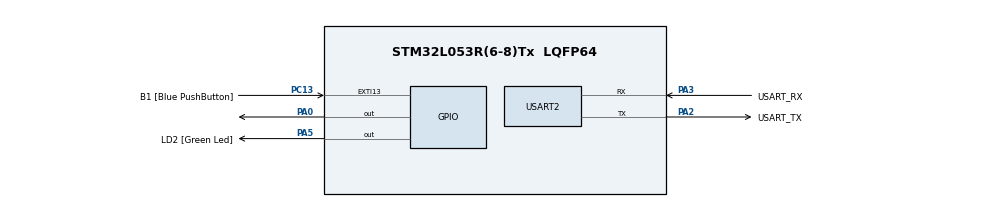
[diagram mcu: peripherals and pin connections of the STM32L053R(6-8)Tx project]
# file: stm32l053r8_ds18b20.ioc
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Mcu.Family=STM32L0
Mcu.Name=STM32L053R(6-8)Tx
Mcu.Package=LQFP64
PA0.Signal=GPIO_Output
PA13.GPIO_Label=TMS
PA13.Mode=Serial_Wire
PA13.Signal=SYS_SWDIO
PA14.GPIO_Label=TCK
PA14.Mode=Serial_Wire
PA14.Signal=SYS_SWCLK
PA2.GPIO_Label=USART_TX
PA2.Mode=Asynchronous
PA2.Signal=USART2_TX
PA3.GPIO_Label=USART_RX
PA3.Mode=Asynchronous
PA3.Signal=USART2_RX
PA5.GPIO_Label=LD2 [Green Led]
PA5.Signal=GPIO_Output
PC13.GPIO_Label=B1 [Blue PushButton]
PC13.GPIO_ModeDefaultEXTI=GPIO_MODE_IT_FALLING
PC13.Signal=GPXTI13
PC14-OSC32_IN.Mode=LSE-External-Oscillator
PC14-OSC32_IN.Signal=RCC_OSC32_IN
PC15-OSC32_OUT.Mode=LSE-External-Oscillator
PC15-OSC32_OUT.Signal=RCC_OSC32_OUT
PH0-OSC_IN.Mode=HSE-External-Clock-Source
PH0-OSC_IN.Signal=RCC_OSC_IN
PH1-OSC_OUT.Signal=RCC_OSC_OUT
ProjectManager.HeapSize=0x200
ProjectManager.StackSize=0x400
ProjectManager.TargetToolchain=STM32CubeIDE
RCC.AHBFreq_Value=2097000
RCC.APB1Freq_Value=2097000
RCC.APB1TimFreq_Value=2097000
RCC.APB2Freq_Value=2097000
RCC.APB2TimFreq_Value=2097000
RCC.HSE_VALUE=8000000
RCC.HSI16_VALUE=16000000
RCC.HSI48_VALUE=48000000
RCC.HSI_VALUE=16000000
RCC.MSI_VALUE=2097000
RCC.SYSCLKFreq_VALUE=2097000
RCC.VCOOutputFreq_Value=48000000
USART2.VirtualMode-Asynchronous=VM_ASYNC
VP_TIM2_VS_ClockSourceINT.Mode=Internal
board=NUCLEO-L053R8

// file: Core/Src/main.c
/* USER CODE BEGIN Header */
/**
  ******************************************************************************
  * @file           : main.c
  * @brief          : Main program body
  ******************************************************************************
  * @attention
  *
  * Copyright (c) 2025 STMicroelectronics.
  * All rights reserved.
  *
  * This software is licensed under terms that can be found in the LICENSE file
  * in the root directory of this software component.
  * If no LICENSE file comes with this software, it is provided AS-IS.
  *
  ******************************************************************************
  */
/* USER CODE END Header */
#include "main.h"

/* USER CODE BEGIN Includes */
#include <stdio.h>
#include <stdint.h>

UART_HandleTypeDef huart2;
TIM_HandleTypeDef htim2;  // Use TIM2 for microsecond delay

// ---------------- UART printf ----------------
int __io_putchar(int ch) {
  HAL_UART_Transmit(&huart2, (uint8_t *)&ch, 1, HAL_MAX_DELAY);
  return ch;
}

// ---------------- DS18B20 defines ----------------
#define DS18B20_PORT GPIOA
#define DS18B20_PIN  GPIO_PIN_0

// delay in microseconds
void delay_us(uint16_t us) {
  __HAL_TIM_SET_COUNTER(&htim2, 0);
  while (__HAL_TIM_GET_COUNTER(&htim2) < us);
}

// ---------- Low-level 1-Wire Functions ----------
uint8_t DS18B20_Start(void);
void DS18B20_Write(uint8_t data);
uint8_t DS18B20_Read(void);
float DS18B20_GetTemp(void);

// ---------- DS18B20 low-level functions ----------
uint8_t DS18B20_Start(void) {
  uint8_t response = 0;
  GPIO_InitTypeDef GPIO_InitStruct = {0};

  // Set as output
  GPIO_InitStruct.Pin = DS18B20_PIN;
  GPIO_InitStruct.Mode = GPIO_MODE_OUTPUT_PP;
  GPIO_InitStruct.Speed = GPIO_SPEED_FREQ_LOW;
  HAL_GPIO_Init(DS18B20_PORT, &GPIO_InitStruct);

  HAL_GPIO_WritePin(DS18B20_PORT, DS18B20_PIN, GPIO_PIN_RESET);
  delay_us(480); // reset pulse
  HAL_GPIO_WritePin(DS18B20_PORT, DS18B20_PIN, GPIO_PIN_SET);
  delay_us(80);

  // Set as input to read presence
  GPIO_InitStruct.Mode = GPIO_MODE_INPUT;
  HAL_GPIO_Init(DS18B20_PORT, &GPIO_InitStruct);

  if (!HAL_GPIO_ReadPin(DS18B20_PORT, DS18B20_PIN))
    response = 1; // presence pulse
  else
    response = 0;

  delay_us(400);
  return response;
}

void DS18B20_Write(uint8_t data) {
  GPIO_InitTypeDef GPIO_InitStruct = {0};
  for (int i = 0; i < 8; i++) {
    // Output mode
    GPIO_InitStruct.Pin = DS18B20_PIN;
    GPIO_InitStruct.Mode = GPIO_MODE_OUTPUT_PP;
    HAL_GPIO_Init(DS18B20_PORT, &GPIO_InitStruct);

    if ((data & (1 << i)) != 0) {
      HAL_GPIO_WritePin(DS18B20_PORT, DS18B20_PIN, GPIO_PIN_RESET);
      delay_us(1);
      HAL_GPIO_WritePin(DS18B20_PORT, DS18B20_PIN, GPIO_PIN_SET);
      delay_us(60);
    } else {
      HAL_GPIO_WritePin(DS18B20_PORT, DS18B20_PIN, GPIO_PIN_RESET);
      delay_us(60);
      HAL_GPIO_WritePin(DS18B20_PORT, DS18B20_PIN, GPIO_PIN_SET);
    }
  }
}

uint8_t DS18B20_Read(void) {
  uint8_t value = 0;
  GPIO_InitTypeDef GPIO_InitStruct = {0};

  for (int i = 0; i < 8; i++) {
    // Output low
    GPIO_InitStruct.Pin = DS18B20_PIN;
    GPIO_InitStruct.Mode = GPIO_MODE_OUTPUT_PP;
    HAL_GPIO_Init(DS18B20_PORT, &GPIO_InitStruct);
    HAL_GPIO_WritePin(DS18B20_PORT, DS18B20_PIN, GPIO_PIN_RESET);
    delay_us(2);

    // Input mode to read bit
    GPIO_InitStruct.Mode = GPIO_MODE_INPUT;
    HAL_GPIO_Init(DS18B20_PORT, &GPIO_InitStruct);

    if (HAL_GPIO_ReadPin(DS18B20_PORT, DS18B20_PIN))
      value |= 1 << i;
    delay_us(60);
  }
  return value;
}

float DS18B20_GetTemp(void) {
  uint8_t temp_lsb, temp_msb;
  int16_t temp;

  DS18B20_Start();
  DS18B20_Write(0xCC); // Skip ROM
  DS18B20_Write(0x44); // Convert T
  HAL_Delay(750);      // Wait for conversion

  DS18B20_Start();
  DS18B20_Write(0xCC); // Skip ROM
  DS18B20_Write(0xBE); // Read scratchpad

  temp_lsb = DS18B20_Read();
  temp_msb = DS18B20_Read();

  temp = (temp_msb << 8) | temp_lsb;

  return (float)temp / 16.0; // 12-bit resolution
}

/* USER CODE END Includes */

TIM_HandleTypeDef htim2;

UART_HandleTypeDef huart2;

void SystemClock_Config(void);
static void MX_GPIO_Init(void);
static void MX_USART2_UART_Init(void);
static void MX_TIM2_Init(void);

int main(void)
{

  /* MCU Configuration--------------------------------------------------------*/

  /* Reset of all peripherals, Initializes the Flash interface and the Systick. */
  HAL_Init();

  /* Configure the system clock */
  SystemClock_Config();

  /* Initialize all configured peripherals */
  MX_GPIO_Init();
  MX_USART2_UART_Init();
  MX_TIM2_Init();
  /* USER CODE BEGIN 2 */
  HAL_TIM_Base_Start(&htim2);
  /* USER CODE END 2 */
  printf("Device On :°C\r\n");
  /* Infinite loop */
  while (1)
  {
	    float temp = DS18B20_GetTemp();
	    printf("Temperature: %.2f °C\r\n", temp);
	    HAL_Delay(1000);
  }
}

//void SystemClock_Config(void)
//{
//  RCC_OscInitTypeDef RCC_OscInitStruct = {0};
//  RCC_ClkInitTypeDef RCC_ClkInitStruct = {0};
//  RCC_PeriphCLKInitTypeDef PeriphClkInit = {0};
//
//  /** Configure the main internal regulator output voltage
//  */
//  __HAL_PWR_VOLTAGESCALING_CONFIG(PWR_REGULATOR_VOLTAGE_SCALE1);
//
//  /** Initializes the RCC Oscillators according to the specified parameters
//  * in the RCC_OscInitTypeDef structure.
//  */
//  RCC_OscInitStruct.OscillatorType = RCC_OSCILLATORTYPE_MSI;
//  RCC_OscInitStruct.MSIState = RCC_MSI_ON;
//  RCC_OscInitStruct.MSICalibrationValue = 0;
//  RCC_OscInitStruct.MSIClockRange = RCC_MSIRANGE_5;
//  RCC_OscInitStruct.PLL.PLLState = RCC_PLL_NONE;
//  if (HAL_RCC_OscConfig(&RCC_OscInitStruct) != HAL_OK)
//  {
//    Error_Handler();
//  }
//
//  /** Initializes the CPU, AHB and APB buses clocks
//  */
//  RCC_ClkInitStruct.ClockType = RCC_CLOCKTYPE_HCLK|RCC_CLOCKTYPE_SYSCLK
//                              |RCC_CLOCKTYPE_PCLK1|RCC_CLOCKTYPE_PCLK2;
//  RCC_ClkInitStruct.SYSCLKSource = RCC_SYSCLKSOURCE_MSI;
//  RCC_ClkInitStruct.AHBCLKDivider = RCC_SYSCLK_DIV1;
//  RCC_ClkInitStruct.APB1CLKDivider = RCC_HCLK_DIV1;
//  RCC_ClkInitStruct.APB2CLKDivider = RCC_HCLK_DIV1;
//
//  if (HAL_RCC_ClockConfig(&RCC_ClkInitStruct, FLASH_LATENCY_0) != HAL_OK)
//  {
//    Error_Handler();
//  }
//  PeriphClkInit.PeriphClockSelection = RCC_PERIPHCLK_USART2;
//  PeriphClkInit.Usart2ClockSelection = RCC_USART2CLKSOURCE_PCLK1;
//  if (HAL_RCCEx_PeriphCLKConfig(&PeriphClkInit) != HAL_OK)
//  {
//    Error_Handler();
//  }
//}

void SystemClock_Config(void)
{
  RCC_OscInitTypeDef RCC_OscInitStruct = {0};
  RCC_ClkInitTypeDef RCC_ClkInitStruct = {0};
  RCC_PeriphCLKInitTypeDef PeriphClkInit = {0};

  /** Configure the main internal regulator output voltage */
  __HAL_PWR_VOLTAGESCALING_CONFIG(PWR_REGULATOR_VOLTAGE_SCALE1);

  /** Initializes the RCC Oscillators */
  RCC_OscInitStruct.OscillatorType = RCC_OSCILLATORTYPE_HSI;
  RCC_OscInitStruct.HSIState = RCC_HSI_ON;
  RCC_OscInitStruct.PLL.PLLState = RCC_PLL_NONE; // no PLL, 16 MHz direct
  if (HAL_RCC_OscConfig(&RCC_OscInitStruct) != HAL_OK)
  {
    Error_Handler();
  }

  /** Initializes the CPU, AHB and APB buses clocks */
  RCC_ClkInitStruct.ClockType = RCC_CLOCKTYPE_HCLK | RCC_CLOCKTYPE_SYSCLK |
                                RCC_CLOCKTYPE_PCLK1 | RCC_CLOCKTYPE_PCLK2;
  RCC_ClkInitStruct.SYSCLKSource = RCC_SYSCLKSOURCE_HSI;
  RCC_ClkInitStruct.AHBCLKDivider = RCC_SYSCLK_DIV1;
  RCC_ClkInitStruct.APB1CLKDivider = RCC_HCLK_DIV1;
  RCC_ClkInitStruct.APB2CLKDivider = RCC_HCLK_DIV1;

  if (HAL_RCC_ClockConfig(&RCC_ClkInitStruct, FLASH_LATENCY_0) != HAL_OK)
  {
    Error_Handler();
  }

  /** USART2 clock source */
  PeriphClkInit.PeriphClockSelection = RCC_PERIPHCLK_USART2;
  PeriphClkInit.Usart2ClockSelection = RCC_USART2CLKSOURCE_PCLK1;
  if (HAL_RCCEx_PeriphCLKConfig(&PeriphClkInit) != HAL_OK)
  {
    Error_Handler();
  }
}

//static void MX_TIM2_Init(void)
//{
//
//  /* USER CODE BEGIN TIM2_Init 0 */
//
//  /* USER CODE END TIM2_Init 0 */
//
//  TIM_ClockConfigTypeDef sClockSourceConfig = {0};
//  TIM_MasterConfigTypeDef sMasterConfig = {0};
//
//  /* USER CODE BEGIN TIM2_Init 1 */
//
//  /* USER CODE END TIM2_Init 1 */
//  htim2.Instance = TIM2;
//  htim2.Init.Prescaler = 1;
//  htim2.Init.CounterMode = TIM_COUNTERMODE_UP;
//  htim2.Init.Period = 65535;
//  htim2.Init.ClockDivision = TIM_CLOCKDIVISION_DIV1;
//  htim2.Init.AutoReloadPreload = TIM_AUTORELOAD_PRELOAD_DISABLE;
//  if (HAL_TIM_Base_Init(&htim2) != HAL_OK)
//  {
//    Error_Handler();
//  }
//  sClockSourceConfig.ClockSource = TIM_CLOCKSOURCE_INTERNAL;
//  if (HAL_TIM_ConfigClockSource(&htim2, &sClockSourceConfig) != HAL_OK)
//  {
//    Error_Handler();
//  }
//  sMasterConfig.MasterOutputTrigger = TIM_TRGO_RESET;
//  sMasterConfig.MasterSlaveMode = TIM_MASTERSLAVEMODE_DISABLE;
//  if (HAL_TIMEx_MasterConfigSynchronization(&htim2, &sMasterConfig) != HAL_OK)
//  {
//    Error_Handler();
//  }
//  /* USER CODE BEGIN TIM2_Init 2 */
//
//  /* USER CODE END TIM2_Init 2 */
//
//}

static void MX_TIM2_Init(void)
{
  TIM_ClockConfigTypeDef sClockSourceConfig = {0};
  TIM_MasterConfigTypeDef sMasterConfig = {0};

  htim2.Instance = TIM2;
  htim2.Init.Prescaler = 16 - 1;   // 16 MHz / 16 = 1 MHz → 1 µs per tick
  htim2.Init.CounterMode = TIM_COUNTERMODE_UP;
  htim2.Init.Period = 0xFFFF;
  htim2.Init.ClockDivision = TIM_CLOCKDIVISION_DIV1;
  htim2.Init.AutoReloadPreload = TIM_AUTORELOAD_PRELOAD_DISABLE;

  if (HAL_TIM_Base_Init(&htim2) != HAL_OK)
  {
    Error_Handler();
  }

  sClockSourceConfig.ClockSource = TIM_CLOCKSOURCE_INTERNAL;
  if (HAL_TIM_ConfigClockSource(&htim2, &sClockSourceConfig) != HAL_OK)
  {
    Error_Handler();
  }

  sMasterConfig.MasterOutputTrigger = TIM_TRGO_RESET;
  sMasterConfig.MasterSlaveMode = TIM_MASTERSLAVEMODE_DISABLE;
  if (HAL_TIMEx_MasterConfigSynchronization(&htim2, &sMasterConfig) != HAL_OK)
  {
    Error_Handler();
  }

  HAL_TIM_Base_Start(&htim2);
}

static void MX_USART2_UART_Init(void)
{

  huart2.Instance = USART2;
  huart2.Init.BaudRate = 115200;
  huart2.Init.WordLength = UART_WORDLENGTH_8B;
  huart2.Init.StopBits = UART_STOPBITS_1;
  huart2.Init.Parity = UART_PARITY_NONE;
  huart2.Init.Mode = UART_MODE_TX_RX;
  huart2.Init.HwFlowCtl = UART_HWCONTROL_NONE;
  huart2.Init.OverSampling = UART_OVERSAMPLING_16;
  huart2.Init.OneBitSampling = UART_ONE_BIT_SAMPLE_DISABLE;
  huart2.AdvancedInit.AdvFeatureInit = UART_ADVFEATURE_NO_INIT;
  if (HAL_UART_Init(&huart2) != HAL_OK)
  {
    Error_Handler();
  }

}

static void MX_GPIO_Init(void)
{
  GPIO_InitTypeDef GPIO_InitStruct = {0};

  /* GPIO Ports Clock Enable */
  __HAL_RCC_GPIOC_CLK_ENABLE();
  __HAL_RCC_GPIOH_CLK_ENABLE();
  __HAL_RCC_GPIOA_CLK_ENABLE();

  /*Configure GPIO pin Output Level */
  HAL_GPIO_WritePin(GPIOA, GPIO_PIN_0|LD2_Pin, GPIO_PIN_RESET);

  /*Configure GPIO pin : B1_Pin */
  GPIO_InitStruct.Pin = B1_Pin;
  GPIO_InitStruct.Mode = GPIO_MODE_IT_FALLING;
  GPIO_InitStruct.Pull = GPIO_NOPULL;
  HAL_GPIO_Init(B1_GPIO_Port, &GPIO_InitStruct);

  /*Configure GPIO pins : PA0 LD2_Pin */
  GPIO_InitStruct.Pin = GPIO_PIN_0|LD2_Pin;
  GPIO_InitStruct.Mode = GPIO_MODE_OUTPUT_PP;
  GPIO_InitStruct.Pull = GPIO_NOPULL;
  GPIO_InitStruct.Speed = GPIO_SPEED_FREQ_LOW;
  HAL_GPIO_Init(GPIOA, &GPIO_InitStruct);

}

void Error_Handler(void)
{
  __disable_irq();
  while (1)
  {
  }
}
